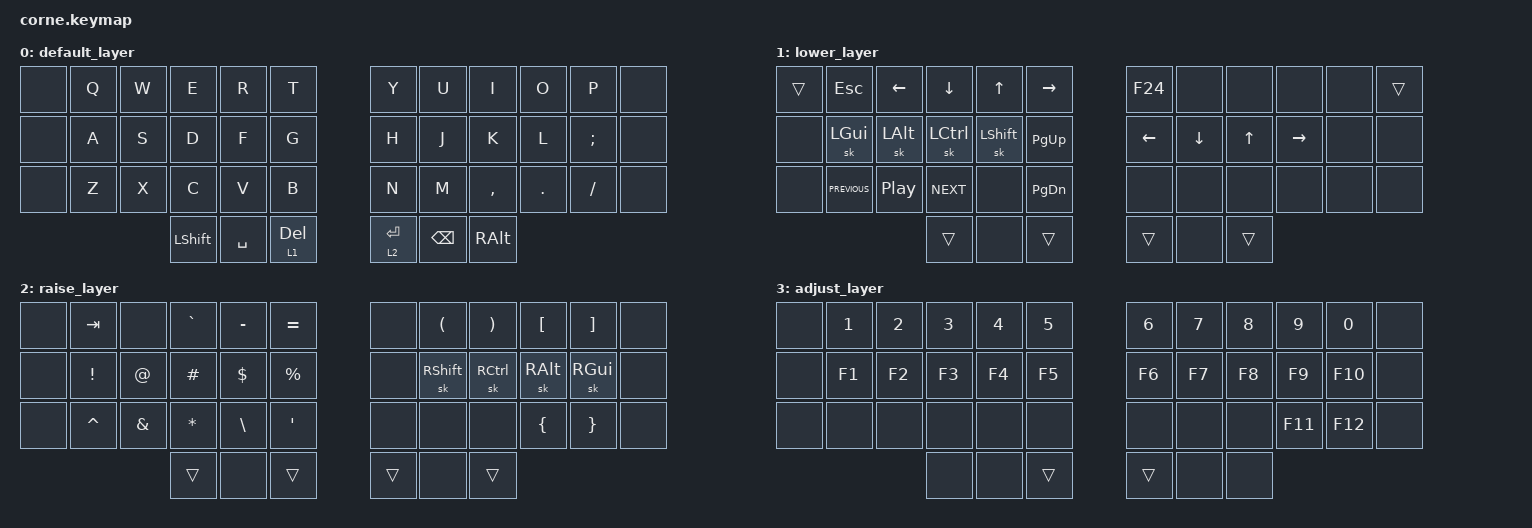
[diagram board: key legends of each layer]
/*
 * Copyright (c) 2020 The ZMK Contributors
 *
 * SPDX-License-Identifier: MIT
 */

#include <behaviors.dtsi>
#include <dt-bindings/zmk/keys.h>

#define DEFAULT 0
#define LOWER   1
#define RAISE   2
#define ADJUST  3

&mt {
    tapping-term-ms = <400>;
};

/ {
    conditional_layers {
        compatible = "zmk,conditional-layers";

        tri_layer {
            if-layers = <1 2>;
            then-layer = <3>;
        };
    };

    keymap {
        compatible = "zmk,keymap";

        // -----------------------------------------------------------------------------------------
        // |  TAB |  Q  |  W  |  E  |  R  |  T  |   |  Y  |  U   |  I  |  O  |  P  | BKSP |
        // | CTRL |  A  |  S  |  D  |  F  |  G  |   |  H  |  J   |  K  |  L  |  ;  |  '   |
        // | SHFT |  Z  |  X  |  C  |  V  |  B  |   |  N  |  M   |  ,  |  .  |  /  | SHFT |
        //                    | GUI | LWR | SPC |   | ENT | RSE  | ALT |

        default_layer {
            bindings = <
&none  &kp Q  &kp W  &kp E           &kp R      &kp T           &kp Y        &kp U          &kp I      &kp O    &kp P     &none
&none  &kp A  &kp S  &kp D           &kp F      &kp G           &kp H        &kp J          &kp K      &kp L    &kp SEMI  &none
&none  &kp Z  &kp X  &kp C           &kp V      &kp B           &kp N        &kp M          &kp COMMA  &kp DOT  &kp FSLH  &none
                     &kp LEFT_SHIFT  &kp SPACE  &lt 1 DELETE    &lt 2 ENTER  &kp BACKSPACE  &kp RALT
            >;
        };

        // -----------------------------------------------------------------------------------------
        // |  TAB |  1  |  2  |  3  |  4  |  5  |   |  6  |  7  |  8  |  9  |  0  | BKSP |
        // |      |     |     |     |     |     |   | LFT | DWN |  UP | RGT |     |      |
        // | SHFT |     |     |     |     |     |   |     |     |     |     |     |      |
        //                    | GUI | LWR | SPC |   | ENT | RSE | ALT |

        lower_layer {
            bindings = <
&trans  &kp ESC         &kp LEFT          &kp DOWN          &kp UP          &kp RIGHT    &kp F24   &none     &none   &none      &none  &trans
&none   &sk LEFT_GUI    &sk LEFT_ALT      &sk LEFT_CONTROL  &sk LEFT_SHIFT  &kp PG_UP    &kp LEFT  &kp DOWN  &kp UP  &kp RIGHT  &none  &none
&none   &kp C_PREVIOUS  &kp C_PLAY_PAUSE  &kp C_NEXT        &none           &kp PG_DN    &none     &none     &none   &none      &none  &none
                                          &trans            &none           &trans       &trans    &none     &trans
            >;
        };

        // -----------------------------------------------------------------------------------------
        // |  ESC |  !  |  @  |  #  |  $  |  %  |   |  ^  |  &  |  *  |  (  |  )  | BKSP |
        // | CTRL |     |     |     |     |     |   |  -  |  =  |  [  |  ]  |  \  |  `   |
        // | SHFT |     |     |     |     |     |   |  _  |  +  |  {  |  }  | "|" |  ~   |
        //                    | GUI | LWR | SPC |   | ENT | RSE | ALT |

        raise_layer {
            bindings = <
&none  &kp TAB          &none     &kp GRAVE  &kp MINUS      &kp EQUAL      &none   &kp LPAR   &kp RPAR   &kp LEFT_BRACKET  &kp RBKT  &none
&none  &kp EXCLAMATION  &kp AT    &kp HASH   &kp DOLLAR     &kp PERCENT    &none   &sk RSHFT  &sk RCTRL  &sk RIGHT_ALT     &sk RGUI  &none
&none  &kp CARET        &kp AMPS  &kp ASTRK  &kp BACKSLASH  &kp SQT        &none   &none      &none      &kp LBRC          &kp RBRC  &none
                                  &trans     &none          &trans         &trans  &none      &trans
            >;
        };

        // -----------------------------------------------------------------------------------------
        // |  F1  |  F2 |  F3 | F4  |  F5 |  F6 |   | F7  |  F8 |  F9 | F10 | F11 | F12  |
        // | BTCLR|     |     |     |     |     |   | MUT | Vo- | Vo+ |     |     |      |
        // |      |     |     | BTP | BTN |     |   |     | END | HOME|     |     |      |
        //                    |     | LWR |     |   |     | RSE |     |

        adjust_layer {
            bindings = <
&none  &kp N1  &kp N2  &kp N3  &kp N4  &kp N5    &kp N6  &kp N7  &kp N8  &kp N9   &kp N0   &none
&none  &kp F1  &kp F2  &kp F3  &kp F4  &kp F5    &kp F6  &kp F7  &kp F8  &kp F9   &kp F10  &none
&none  &none   &none   &none   &none   &none     &none   &none   &none   &kp F11  &kp F12  &none
                       &none   &none   &trans    &trans  &none   &none
            >;
        };
    };
};
